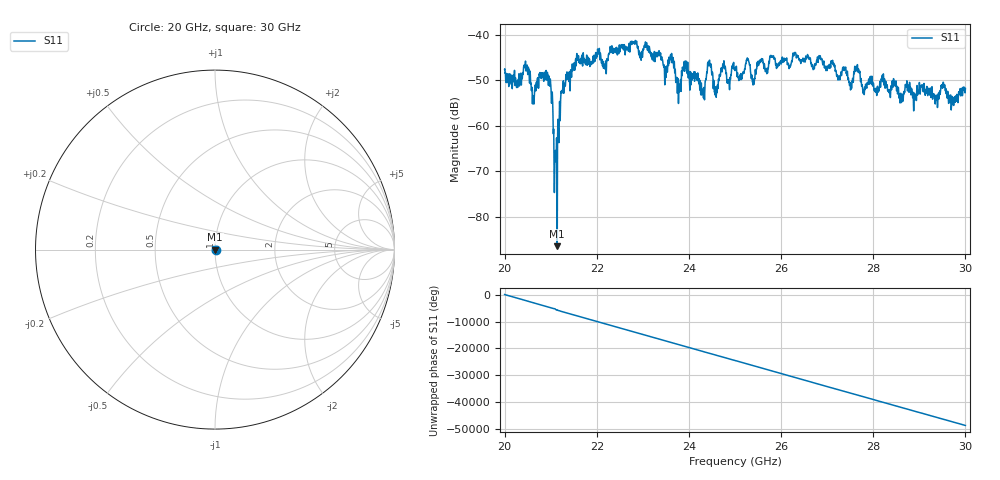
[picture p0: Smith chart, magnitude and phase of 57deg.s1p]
#  HZ  S  RI  R  50.00
! Rohde & Schwarz ZVA40 4Ports - Version 3.90 - 1145.1110k42 SN: 100403
! Date: 2023-10-03 12:58:08
! Measurement: S12
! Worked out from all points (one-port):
!   5001 points, 20 GHz to 30 GHz, reference 50 ohm
!   lowest |S11| = -86.4 dB at 21.14 GHz (marker M1), VSWR 1.00, Z = 50 - j0.00476 ohm
!   |S11| at or under -10 dB: start of sweep to end of sweep
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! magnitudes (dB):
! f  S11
! 20 GHz  -47.6
! 20.47 GHz  -47.9
! 20.63 GHz  -53.5
! 20.94 GHz  -49.7
! 21.01 GHz  -51.6
! 21.1 GHz  -66.0
! 21.14 GHz  -86.4
! 21.25 GHz  -52.4
! 21.58 GHz  -45.6
! 22.5 GHz  -43.7
! 23.61 GHz  -45.5
! 23.75 GHz  -52.8
! 23.91 GHz  -47.9
! 24.3 GHz  -52.4
! 24.44 GHz  -46.0
! 24.58 GHz  -51.9
! 24.74 GHz  -46.8
! 24.87 GHz  -50.2
! 25 GHz  -47.8
! 25.28 GHz  -45.3
! 25.39 GHz  -50.7
! 25.55 GHz  -46.1
! 26.25 GHz  -44.7
! 27.5 GHz  -50.6
! 27.64 GHz  -47.6
! 27.81 GHz  -51.5
! 28.75 GHz  -51.2
! 30 GHz  -51.8
